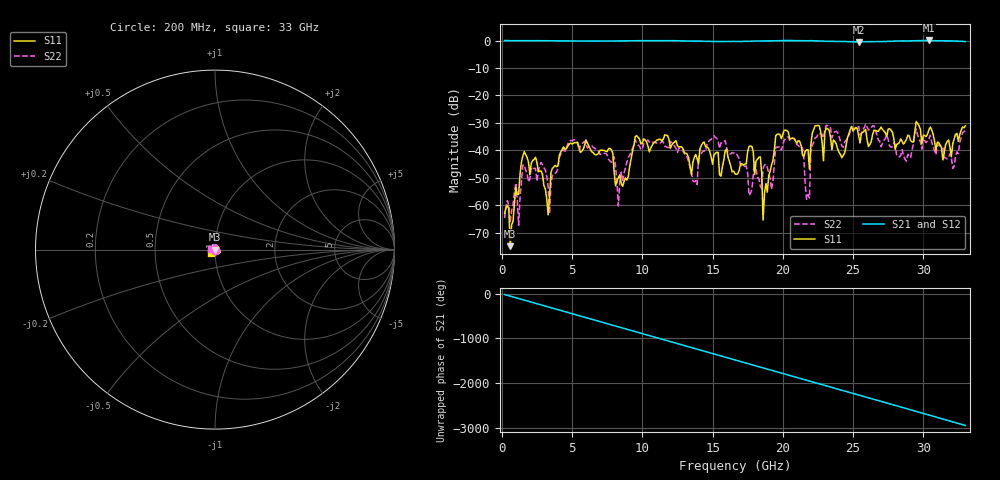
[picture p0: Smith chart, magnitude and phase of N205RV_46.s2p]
# GHZ S RI R 50
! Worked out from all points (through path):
!   329 points, 200 MHz to 33 GHz, reference 50 ohm
!   highest |S21| = 0.03 dB at 30.4 GHz (marker M1); lowest = -0.5 dB at 25.4 GHz (marker M2)
!   group delay of S21, straight-line fit = 248 ps
!   lowest |S11| = -74.9 dB at 600 MHz (marker M3), VSWR 1.00, Z = 50 - j0.00247 ohm
!   |S11| at or under -10 dB: start of sweep to end of sweep
!   |S22| runs from -67.3 to -30.5 dB; largest |S21 - S12| = 0.0019
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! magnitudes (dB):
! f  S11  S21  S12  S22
! 200 MHz  -63.0  0.0  0.0  -64.7
! 600 MHz  -74.9  0.0  0.0  -66.4
! 1.2 GHz  -56.1  0.0  0.0  -67.3
! 1.6 GHz  -40.5  0.0  0.0  -45.3
! 3.3 GHz  -63.5  -0.1  -0.1  -53.2
! 4.3 GHz  -39.6  -0.1  -0.1  -40.4
! 5.7 GHz  -40.3  -0.2  -0.2  -37.6
! 8 GHz  -47.9  -0.1  -0.1  -42.4
! 8.3 GHz  -50.0  -0.1  -0.1  -60.3
! 9.5 GHz  -35.0  -0.1  -0.1  -36.3
! 11.2 GHz  -36.0  0.0  0.0  -37.3
! 16.6 GHz  -48.6  -0.3  -0.3  -40.8
! 18.4 GHz  -42.4  -0.1  -0.1  -53.1
! 18.6 GHz  -65.5  -0.1  -0.1  -46.6
! 19.5 GHz  -34.7  -0.1  -0.1  -38.8
! 21.4 GHz  -41.6  -0.1  -0.1  -39.0
! 21.7 GHz  -39.8  -0.1  -0.1  -57.9
! 22.1 GHz  -33.8  -0.1  -0.1  -38.2
! 25.4 GHz  -34.7  -0.5  -0.5  -31.3
! 27.6 GHz  -32.1  -0.3  -0.3  -38.4
! 30.4 GHz  -32.6  0.0  0.0  -35.9
! 33 GHz  -31.1  -0.4  -0.4  -32.8
